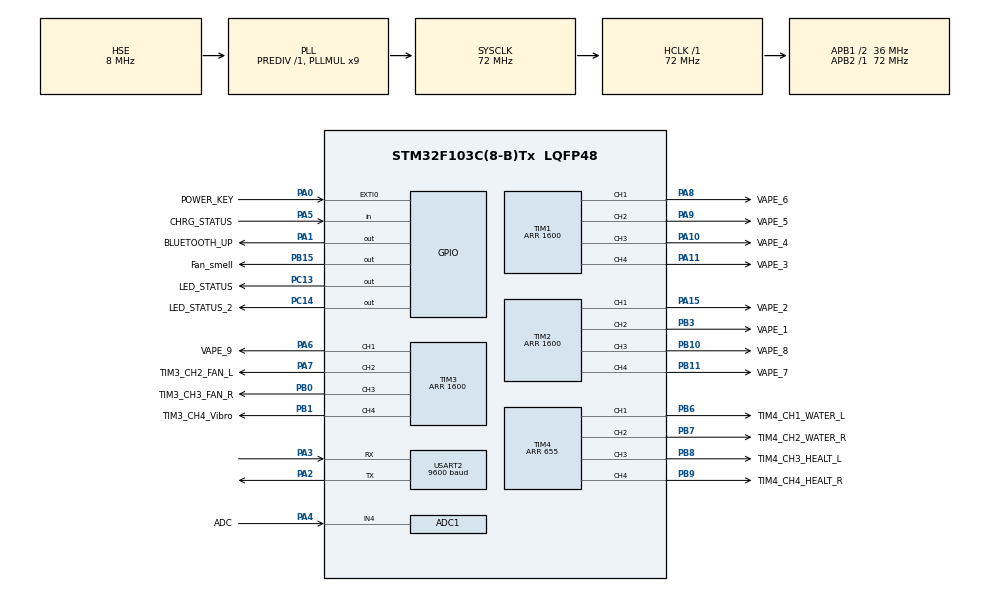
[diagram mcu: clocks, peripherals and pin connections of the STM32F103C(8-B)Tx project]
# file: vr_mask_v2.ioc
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ADC1.Channel-0\#ChannelRegularConversion=ADC_CHANNEL_4
ADC1.Channel-4\#ChannelRegularConversion=ADC_CHANNEL_TEMPSENSOR
ADC1.ContinuousConvMode=ENABLE
ADC1.DataAlign=ADC_DATAALIGN_RIGHT
ADC1.DiscontinuousConvMode=DISABLE
ADC1.EnableAnalogWatchDog=false
ADC1.EnableRegularConversion=ENABLE
ADC1.ExternalTrigConv=ADC_SOFTWARE_START
ADC1.InjNumberOfConversion=0
ADC1.NbrOfConversion=2
ADC1.NbrOfConversionFlag=1
ADC1.Rank-0\#ChannelRegularConversion=1
ADC1.Rank-4\#ChannelRegularConversion=2
ADC1.SamplingTime-0\#ChannelRegularConversion=ADC_SAMPLETIME_239CYCLES_5
ADC1.SamplingTime-4\#ChannelRegularConversion=ADC_SAMPLETIME_239CYCLES_5
ADC1.ScanConvMode=ADC_SCAN_ENABLE
ADC1.master=1
Dma.ADC1.0.Direction=DMA_PERIPH_TO_MEMORY
Dma.ADC1.0.Instance=DMA1_Channel1
Dma.ADC1.0.MemDataAlignment=DMA_MDATAALIGN_WORD
Dma.ADC1.0.MemInc=DMA_MINC_ENABLE
Dma.ADC1.0.Mode=DMA_CIRCULAR
Dma.ADC1.0.PeriphDataAlignment=DMA_PDATAALIGN_WORD
Dma.ADC1.0.PeriphInc=DMA_PINC_DISABLE
Dma.ADC1.0.Priority=DMA_PRIORITY_LOW
Dma.Request0=ADC1
Dma.Request1=USART2_RX
Dma.Request2=USART2_TX
Dma.USART2_RX.1.Direction=DMA_PERIPH_TO_MEMORY
Dma.USART2_RX.1.Instance=DMA1_Channel6
Dma.USART2_RX.1.MemDataAlignment=DMA_MDATAALIGN_BYTE
Dma.USART2_RX.1.MemInc=DMA_MINC_DISABLE
Dma.USART2_RX.1.Mode=DMA_CIRCULAR
Dma.USART2_RX.1.PeriphDataAlignment=DMA_PDATAALIGN_BYTE
Dma.USART2_RX.1.PeriphInc=DMA_PINC_DISABLE
Dma.USART2_RX.1.Priority=DMA_PRIORITY_HIGH
Dma.USART2_TX.2.Direction=DMA_MEMORY_TO_PERIPH
Dma.USART2_TX.2.Instance=DMA1_Channel7
Dma.USART2_TX.2.MemDataAlignment=DMA_MDATAALIGN_BYTE
Dma.USART2_TX.2.MemInc=DMA_MINC_ENABLE
Dma.USART2_TX.2.Mode=DMA_NORMAL
Dma.USART2_TX.2.PeriphDataAlignment=DMA_PDATAALIGN_BYTE
Dma.USART2_TX.2.PeriphInc=DMA_PINC_DISABLE
Dma.USART2_TX.2.Priority=DMA_PRIORITY_MEDIUM
Mcu.Family=STM32F1
Mcu.Name=STM32F103C(8-B)Tx
Mcu.Package=LQFP48
NVIC.ADC1_2_IRQn=true\:0\:0\:false\:false\:true\:true
NVIC.DMA1_Channel1_IRQn=true\:0\:0\:false\:false\:true\:false
NVIC.DMA1_Channel6_IRQn=true\:0\:0\:false\:false\:true\:false
NVIC.DMA1_Channel7_IRQn=true\:0\:0\:false\:false\:true\:false
NVIC.PriorityGroup=NVIC_PRIORITYGROUP_4
NVIC.USART2_IRQn=true\:0\:0\:false\:false\:true\:true
PA0-WKUP.GPIO_Label=POWER_KEY
PA0-WKUP.Signal=GPXTI0
PA1.GPIO_Label=BLUETOOTH_UP
PA1.Signal=GPIO_Output
PA10.GPIO_Label=VAPE_4
PA10.Signal=S_TIM1_CH3
PA11.GPIO_Label=VAPE_3
PA11.Signal=S_TIM1_CH4
PA13.Mode=Serial_Wire
PA13.Signal=SYS_JTMS-SWDIO
PA14.Mode=Serial_Wire
PA14.Signal=SYS_JTCK-SWCLK
PA15.GPIO_Label=VAPE_2
PA15.Signal=S_TIM2_CH1_ETR
PA2.Mode=Asynchronous
PA2.Signal=USART2_TX
PA3.Mode=Asynchronous
PA3.Signal=USART2_RX
PA4.GPIO_Label=ADC
PA4.Signal=ADCx_IN4
PA5.GPIO_Label=CHRG_STATUS
PA5.Signal=GPIO_Input
PA6.GPIO_Label=VAPE_9
PA6.Signal=S_TIM3_CH1
PA7.GPIO_Label=TIM3_CH2_FAN_L
PA7.Signal=S_TIM3_CH2
PA8.GPIO_Label=VAPE_6
PA8.Signal=S_TIM1_CH1
PA9.GPIO_Label=VAPE_5
PA9.Signal=S_TIM1_CH2
PB0.GPIO_Label=TIM3_CH3_FAN_R
PB0.Signal=S_TIM3_CH3
PB1.GPIO_Label=TIM3_CH4_Vibro
PB1.Signal=S_TIM3_CH4
PB10.GPIO_Label=VAPE_8
PB10.Signal=S_TIM2_CH3
PB11.GPIO_Label=VAPE_7
PB11.Signal=S_TIM2_CH4
PB15.GPIO_Label=Fan_smell
PB15.Signal=GPIO_Output
PB3.GPIO_Label=VAPE_1
PB3.Signal=S_TIM2_CH2
PB6.GPIO_Label=TIM4_CH1_WATER_L
PB6.Signal=S_TIM4_CH1
PB7.GPIO_Label=TIM4_CH2_WATER_R
PB7.Signal=S_TIM4_CH2
PB8.GPIO_Label=TIM4_CH3_HEALT_L
PB8.Signal=S_TIM4_CH3
PB9.GPIO_Label=TIM4_CH4_HEALT_R
PB9.Signal=S_TIM4_CH4
PC13-TAMPER-RTC.GPIO_Label=LED_STATUS
PC13-TAMPER-RTC.Signal=GPIO_Output
PC14-OSC32_IN.GPIO_Label=LED_STATUS_2
PC14-OSC32_IN.Signal=GPIO_Output
PD0-OSC_IN.Mode=HSE-External-Oscillator
PD0-OSC_IN.Signal=RCC_OSC_IN
PD1-OSC_OUT.Mode=HSE-External-Oscillator
PD1-OSC_OUT.Signal=RCC_OSC_OUT
ProjectManager.HeapSize=0x200
ProjectManager.StackSize=0x400
ProjectManager.TargetToolchain=MDK-ARM V5
RCC.ADCPresc=RCC_ADCPCLK2_DIV6
RCC.AHBFreq_Value=72000000
RCC.APB1CLKDivider=RCC_HCLK_DIV2
RCC.APB1Freq_Value=36000000
RCC.APB1TimFreq_Value=72000000
RCC.APB2Freq_Value=72000000
RCC.APB2TimFreq_Value=72000000
RCC.HCLKFreq_Value=72000000
RCC.PLLMUL=RCC_PLL_MUL9
RCC.PLLSourceVirtual=RCC_PLLSOURCE_HSE
RCC.SYSCLKFreq_VALUE=72000000
RCC.SYSCLKSource=RCC_SYSCLKSOURCE_PLLCLK
RCC.USBFreq_Value=72000000
SH.ADCx_IN4.0=ADC1_IN4,IN4
SH.S_TIM1_CH1.0=TIM1_CH1,PWM Generation1 CH1
SH.S_TIM1_CH2.0=TIM1_CH2,PWM Generation2 CH2
SH.S_TIM1_CH3.0=TIM1_CH3,PWM Generation3 CH3
SH.S_TIM1_CH4.0=TIM1_CH4,PWM Generation4 CH4
SH.S_TIM2_CH1_ETR.0=TIM2_CH1,PWM Generation1 CH1
SH.S_TIM2_CH2.0=TIM2_CH2,PWM Generation2 CH2
SH.S_TIM2_CH3.0=TIM2_CH3,PWM Generation3 CH3
SH.S_TIM2_CH4.0=TIM2_CH4,PWM Generation4 CH4
SH.S_TIM3_CH1.0=TIM3_CH1,PWM Generation1 CH1
SH.S_TIM3_CH2.0=TIM3_CH2,PWM Generation2 CH2
SH.S_TIM3_CH3.0=TIM3_CH3,PWM Generation3 CH3
SH.S_TIM3_CH4.0=TIM3_CH4,PWM Generation4 CH4
SH.S_TIM4_CH1.0=TIM4_CH1,PWM Generation1 CH1
SH.S_TIM4_CH2.0=TIM4_CH2,PWM Generation2 CH2
SH.S_TIM4_CH3.0=TIM4_CH3,PWM Generation3 CH3
SH.S_TIM4_CH4.0=TIM4_CH4,PWM Generation4 CH4
TIM1.Channel-PWM\ Generation1\ CH1=TIM_CHANNEL_1
TIM1.Channel-PWM\ Generation2\ CH2=TIM_CHANNEL_2
TIM1.Channel-PWM\ Generation3\ CH3=TIM_CHANNEL_3
TIM1.Channel-PWM\ Generation4\ CH4=TIM_CHANNEL_4
TIM1.Period=1600
TIM2.Channel-PWM\ Generation1\ CH1=TIM_CHANNEL_1
TIM2.Channel-PWM\ Generation2\ CH2=TIM_CHANNEL_2
TIM2.Channel-PWM\ Generation3\ CH3=TIM_CHANNEL_3
TIM2.Channel-PWM\ Generation4\ CH4=TIM_CHANNEL_4
TIM2.Period=1600
TIM3.Channel-PWM\ Generation1\ CH1=TIM_CHANNEL_1
TIM3.Channel-PWM\ Generation2\ CH2=TIM_CHANNEL_2
TIM3.Channel-PWM\ Generation3\ CH3=TIM_CHANNEL_3
TIM3.Channel-PWM\ Generation4\ CH4=TIM_CHANNEL_4
TIM3.Period=1600
TIM4.Channel-PWM\ Generation1\ CH1=TIM_CHANNEL_1
TIM4.Channel-PWM\ Generation2\ CH2=TIM_CHANNEL_2
TIM4.Channel-PWM\ Generation3\ CH3=TIM_CHANNEL_3
TIM4.Channel-PWM\ Generation4\ CH4=TIM_CHANNEL_4
TIM4.Period=655
USART2.BaudRate=9600
USART2.VirtualMode=VM_ASYNC
VP_ADC1_TempSens_Input.Mode=IN-TempSens
VP_TIM1_VS_ClockSourceINT.Mode=Internal
VP_TIM2_VS_ClockSourceINT.Mode=Internal
VP_TIM3_VS_ClockSourceINT.Mode=Internal
VP_TIM4_VS_ClockSourceINT.Mode=Internal
board=vr_mask_v2

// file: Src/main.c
/**
  ******************************************************************************
  * File Name          : main.c
  * Description        : Main program body
  ******************************************************************************
  ** This notice applies to any and all portions of this file
  * that are not between comment pairs USER CODE BEGIN and
  * USER CODE END. Other portions of this file, whether
  * inserted by the user or by software development tools
  * are owned by their respective copyright owners.
  *
  * COPYRIGHT(c) 2018 STMicroelectronics
  *
  * Redistribution and use in source and binary forms, with or without modification,
  * are permitted provided that the following conditions are met:
  *   1. Redistributions of source code must retain the above copyright notice,
  *      this list of conditions and the following disclaimer.
  *   2. Redistributions in binary form must reproduce the above copyright notice,
  *      this list of conditions and the following disclaimer in the documentation
  *      and/or other materials provided with the distribution.
  *   3. Neither the name of STMicroelectronics nor the names of its contributors
  *      may be used to endorse or promote products derived from this software
  *      without specific prior written permission.
  *
  * THIS SOFTWARE IS PROVIDED BY THE COPYRIGHT HOLDERS AND CONTRIBUTORS "AS IS"
  * AND ANY EXPRESS OR IMPLIED WARRANTIES, INCLUDING, BUT NOT LIMITED TO, THE
  * IMPLIED WARRANTIES OF MERCHANTABILITY AND FITNESS FOR A PARTICULAR PURPOSE ARE
  * DISCLAIMED. IN NO EVENT SHALL THE COPYRIGHT HOLDER OR CONTRIBUTORS BE LIABLE
  * FOR ANY DIRECT, INDIRECT, INCIDENTAL, SPECIAL, EXEMPLARY, OR CONSEQUENTIAL
  * DAMAGES (INCLUDING, BUT NOT LIMITED TO, PROCUREMENT OF SUBSTITUTE GOODS OR
  * SERVICES; LOSS OF USE, DATA, OR PROFITS; OR BUSINESS INTERRUPTION) HOWEVER
  * CAUSED AND ON ANY THEORY OF LIABILITY, WHETHER IN CONTRACT, STRICT LIABILITY,
  * OR TORT (INCLUDING NEGLIGENCE OR OTHERWISE) ARISING IN ANY WAY OUT OF THE USE
  * OF THIS SOFTWARE, EVEN IF ADVISED OF THE POSSIBILITY OF SUCH DAMAGE.
  *
  ******************************************************************************
  */

#include "main.h"
#include "stm32f1xx_hal.h"

/* USER CODE BEGIN Includes */
#include <stdlib.h>
#include <stdio.h>
#include "mask.h"
#include <stdbool.h>
/* USER CODE END Includes */

ADC_HandleTypeDef hadc1;
DMA_HandleTypeDef hdma_adc1;

TIM_HandleTypeDef htim1;
TIM_HandleTypeDef htim2;
TIM_HandleTypeDef htim3;
TIM_HandleTypeDef htim4;

UART_HandleTypeDef huart2;
DMA_HandleTypeDef hdma_usart2_rx;
DMA_HandleTypeDef hdma_usart2_tx;

/* USER CODE BEGIN PV */
/* Private variables ---------------------------------------------------------*/
uint8_t uart_byte[]={0};
uint8_t uart_buff[6];
uint8_t num_byte=0;

uint8_t sendData[]="MSOK33\n";
uint8_t sendData2[]="OK";
uint8_t sendTEMP[]="  \n\r";
char sendBAT[4];

uint8_t buff_transmit=0;
uint8_t buf_vape[5];
uint8_t buf_healt_left[5];
uint8_t buf_healt_right[5];
uint8_t buf_coller_left[5];
uint8_t buf_coller_right[5];
uint8_t buf_water_left[5];
uint8_t buf_water_right[5];
uint8_t buf_vibro[5];
int8_t fan_smell=0;

bool healt_right=false;
bool healt_left=false;
bool cooler_left=false;
bool cooler_right=false;
bool water_left=false;
bool water_right=false;
bool vibro=false;
bool vape1=false;
bool vape2=false;
bool vape3=false;
bool vape4=false;
bool vape5=false;
bool vape6=false;
bool vape7=false;
bool vape8=false;
bool vape9=false;

float BAT=0;
uint8_t b=0;

uint32_t time_healt_right=0;
uint32_t time_healt_left=0;
uint32_t time_cooler_right=0;
uint32_t time_cooler_left=0;
uint32_t time_water_right=0;
uint32_t time_water_left=0;
uint32_t time_vibro=0;
uint32_t time_vape1=0;
uint32_t time_vape2=0;
uint32_t time_vape3=0;
uint32_t time_vape4=0;
uint32_t time_vape5=0;
uint32_t time_vape6=0;
uint32_t time_vape7=0;
uint32_t time_vape8=0;
uint32_t time_vape9=0;
uint32_t time_sendData=0;
uint32_t time_sendData2=0;
uint32_t time_sendData3=0;

uint32_t time_haelt_rightOff=0;
uint32_t time_haelt_leftOff=0;
uint32_t time_cooler_rightOff=0;
uint32_t time_cooler_leftOff=0;
uint32_t time_water_rightOff=0;
uint32_t time_water_leftOff=0;
uint32_t time_vibro_Off=0;
uint32_t time_vape1_Off=0;
uint32_t time_vape2_Off=0;
uint32_t time_vape3_Off=0;
uint32_t time_vape4_Off=0;
uint32_t time_vape5_Off=0;
uint32_t time_vape6_Off=0;
uint32_t time_vape7_Off=0;
uint32_t time_vape8_Off=0;
uint32_t time_vape9_Off=0;

char temp2[2];
int16_t  temp=0;
uint8_t powercount=0;

uint32_t adc_buffer[2];
float adc_value[2];

uint32_t tick_time;

/* USER CODE END PV */

void SystemClock_Config(void);
static void MX_GPIO_Init(void);
static void MX_DMA_Init(void);
static void MX_ADC1_Init(void);
static void MX_TIM1_Init(void);
static void MX_TIM2_Init(void);
static void MX_TIM3_Init(void);
static void MX_TIM4_Init(void);
static void MX_USART2_UART_Init(void);

void HAL_TIM_MspPostInit(TIM_HandleTypeDef *htim);

/* USER CODE BEGIN PFP */
/* Private function prototypes -----------------------------------------------*/

/* USER CODE END PFP */

/* USER CODE BEGIN 0 */

void HAL_ADC_ConvCpltCallback(ADC_HandleTypeDef* hadc)
{
		if (hadc->Instance == ADC1)
			for (int i=0; i<2; i++)
		{
					adc_value[i]=adc_buffer[i];
		}

}
/* USER CODE END 0 */

int main(void)
{

  /* MCU Configuration----------------------------------------------------------*/

  /* Reset of all peripherals, Initializes the Flash interface and the Systick. */
  HAL_Init();

  /* USER CODE BEGIN Init */
		PWR->CSR   |= PWR_CSR_EWUP;
  /* USER CODE END Init */

  /* Configure the system clock */
  SystemClock_Config();

  /* USER CODE BEGIN SysInit */
			RCC->APB1ENR |= RCC_APB1ENR_PWREN;
  /* USER CODE END SysInit */

  /* Initialize all configured peripherals */
  MX_GPIO_Init();
  MX_DMA_Init();
  MX_ADC1_Init();
  MX_TIM1_Init();
  MX_TIM2_Init();
  MX_TIM3_Init();
  MX_TIM4_Init();
  MX_USART2_UART_Init();

  /* USER CODE BEGIN 2 */

//--------------Вкл---------

//	while(PowerOn())
//	{
//		if(powercount<=0)
//		{	Power_off2();}
//		//if(powercount>=60)
//		//{break;}
//	}
//

//---------------------------

	HAL_ADC_Start_DMA(&hadc1,adc_buffer,2); // Старт ADC, напряжение и температура

	//-----Стартуем все таймеры на частотах TIM1,TIM2,TIM3 - 45 кГц TIM4 - 110 кГц ----
				HAL_TIM_PWM_Start(&htim1, TIM_CHANNEL_1);
        HAL_TIM_PWM_Start(&htim1, TIM_CHANNEL_2);
        HAL_TIM_PWM_Start(&htim1, TIM_CHANNEL_3);
        HAL_TIM_PWM_Start(&htim1, TIM_CHANNEL_4);
				HAL_TIM_PWM_Start(&htim2, TIM_CHANNEL_1);
        HAL_TIM_PWM_Start(&htim2, TIM_CHANNEL_2);
        HAL_TIM_PWM_Start(&htim2, TIM_CHANNEL_3);
        HAL_TIM_PWM_Start(&htim2, TIM_CHANNEL_4);
				HAL_TIM_PWM_Start(&htim3, TIM_CHANNEL_1);
        HAL_TIM_PWM_Start(&htim3, TIM_CHANNEL_2);
        HAL_TIM_PWM_Start(&htim3, TIM_CHANNEL_3);
        HAL_TIM_PWM_Start(&htim3, TIM_CHANNEL_4);
				HAL_TIM_PWM_Start(&htim4, TIM_CHANNEL_1);
        HAL_TIM_PWM_Start(&htim4, TIM_CHANNEL_2);
        HAL_TIM_PWM_Start(&htim4, TIM_CHANNEL_3);
        HAL_TIM_PWM_Start(&htim4, TIM_CHANNEL_4);
	//----------------------------------------------------------------------------------
			//TIM3->CCR2=1000;
		//	TIM3->CCR3=1000;
		//	TIM3->CCR1=1000;
		//	TIM3->CCR4=1000;
		 BT_PowerOn();
		 powercount=0;

		 //	HAL_UART_Transmit_DMA(&huart2, sendData, sizeof(sendData)-1);
  /* USER CODE END 2 */

  /* Infinite loop */
  while (1)
  {

  /* USER CODE BEGIN 3 */

		tick_time=HAL_GetTick();

				//	sendBAT=(uint8_t*)b;
		BAT= ((adc_value[0]*3.33)/4096)/(100000.0/(100000.0+33000.0))*10;
	  b=BAT;
					//sendBAT=(uint8_t*)b;
	  sprintf(sendBAT,"%d\r\n",b);
		//sendBAT[1]=BAT;

//
//		if(tick_time-time_sendData>5000)
//			{
//			time_sendData=HAL_GetTick();
//			//HAL_UART_Transmit_DMA(&huart2, sendData, sizeof(sendData)-1);
//		 // HAL_UART_Transmit_DMA(&huart2, (uint8_t*)sendBAT, 4);
//			}
//

//			if(tick_time-time_sendData2>5100)
//			{
//			time_sendData2=HAL_GetTick();
//			HAL_UART_Transmit_DMA(&huart2, sendData2, sizeof(sendData)-1);
//		 // HAL_UART_Transmit_DMA(&huart2, (uint8_t*)sendBAT, 4);
//			}
//			if(tick_time-time_sendData3>5200)
//			{
//			time_sendData3=HAL_GetTick();
//		//	HAL_UART_Transmit_DMA(&huart2, sendData, sizeof(sendData)-1);
//		  HAL_UART_Transmit_DMA(&huart2, (uint8_t*)sendBAT, 4);
//			}

		//----------------Прием данных по UART --------------------------------------------
				HAL_UART_Receive_DMA(&huart2, uart_byte,1);

				if (uart_byte[0]!=0)
					{
						if(uart_byte[0]==0x0A){num_byte=0;}else
						{
								uart_buff[num_byte]=uart_byte[0];
								num_byte++;
								uart_byte[0]=0;

								if(num_byte>=5)num_byte=0;

						}
					}
		//-----------------------------------------------------------------------------------
		//if(uart_buff[0]==0x3F){buff_transmit[0]=uart_buff[0];uart_buff[0]=0;}
		if(uart_buff[0]==0x3F){buff_transmit=0x3F;}
		if(buff_transmit==0x3F)
		{HAL_UART_Transmit_DMA(&huart2, sendData, sizeof(sendData)-1);buff_transmit=0;uart_buff[0]=0;}

		//------------------Разбор данных с буфера ------------------------------------------
		if(uart_buff[0]!=0&&uart_buff[1]!=0&&uart_buff[2]!=0&&uart_buff[3]!=0&&uart_buff[4]!=0)
			{

		if(uart_buff[0]==0x38){buf_vape[0]=uart_buff[0];buf_vape[1]=uart_buff[1];buf_vape[2]=uart_buff[2];buf_vape[3]=uart_buff[3];buf_vape[4]=uart_buff[4];uart_buff[0]=0;uart_buff[1]=0;uart_buff[2]=0;uart_buff[3]=0;uart_buff[4]=0;}
		if(uart_buff[0]==0x33){buf_healt_left[0]=uart_buff[0];buf_healt_left[1]=uart_buff[1];buf_healt_left[2]=uart_buff[2];buf_healt_left[3]=uart_buff[3];buf_healt_left[4]=uart_buff[4];uart_buff[0]=0;uart_buff[1]=0;uart_buff[2]=0;uart_buff[3]=0;uart_buff[4]=0;}
		if(uart_buff[0]==0x34){buf_healt_right[0]=uart_buff[0];buf_healt_right[1]=uart_buff[1];buf_healt_right[2]=uart_buff[2];buf_healt_right[3]=uart_buff[3];buf_healt_right[4]=uart_buff[4];uart_buff[0]=0;uart_buff[1]=0;uart_buff[2]=0;uart_buff[3]=0;uart_buff[4]=0;}
		if(uart_buff[0]==0x31){buf_coller_left[0]=uart_buff[0];buf_coller_left[1]=uart_buff[1];buf_coller_left[2]=uart_buff[2];buf_coller_left[3]=uart_buff[3];buf_coller_left[4]=uart_buff[4];uart_buff[0]=0;uart_buff[1]=0;uart_buff[2]=0;uart_buff[3]=0;uart_buff[4]=0;}
		if(uart_buff[0]==0x32){buf_coller_right[0]=uart_buff[0];buf_coller_right[1]=uart_buff[1];buf_coller_right[2]=uart_buff[2];buf_coller_right[3]=uart_buff[3];buf_coller_right[4]=uart_buff[4];uart_buff[0]=0;uart_buff[1]=0;uart_buff[2]=0;uart_buff[3]=0;uart_buff[4]=0;}
		if(uart_buff[0]==0x36){buf_water_left[0]=uart_buff[0];buf_water_left[1]=uart_buff[1];buf_water_left[2]=uart_buff[2];buf_water_left[3]=uart_buff[3];buf_water_left[4]=uart_buff[4];uart_buff[0]=0;uart_buff[1]=0;uart_buff[2]=0;uart_buff[3]=0;uart_buff[4]=0;}
		if(uart_buff[0]==0x37){buf_water_right[0]=uart_buff[0];buf_water_right[1]=uart_buff[1];buf_water_right[2]=uart_buff[2];buf_water_right[3]=uart_buff[3];buf_water_right[4]=uart_buff[4];uart_buff[0]=0;uart_buff[1]=0;uart_buff[2]=0;uart_buff[3]=0;uart_buff[4]=0;}
		if(uart_buff[0]==0x35){buf_vibro[0]=uart_buff[0];buf_vibro[1]=uart_buff[1];buf_vibro[2]=uart_buff[2];buf_vibro[3]=uart_buff[3];buf_vibro[4]=uart_buff[4];uart_buff[0]=0;uart_buff[1]=0;uart_buff[2]=0;uart_buff[3]=0;uart_buff[4]=0;}
		else {uart_buff[0]=0;uart_buff[1]=0;uart_buff[2]=0;uart_buff[3]=0;uart_buff[4]=0;}
			}

		//-----------------------------------------------------------------------------------

				if(buf_healt_right[0]==0x34)
						{
							healt_right=true;
							TIM4->CCR4=1500;
							TIM3->CCR3=1500;
							time_healt_right=HAL_GetTick();
							buf_healt_right[0]=0;
							time_haelt_rightOff=(buf_healt_right[3]-0x30)*10 + (buf_healt_right[4]-0x30);
							buf_healt_right[3]=0;buf_healt_right[4]=0;
						}

						if(buf_healt_left[0]==0x33)
						{
							healt_left=true;
							TIM3->CCR2=1500;
							TIM4->CCR3=1500;
							time_healt_left=HAL_GetTick();
							buf_healt_left[0]=0;
							time_haelt_leftOff=(buf_healt_left[3]-0x30)*10 + (buf_healt_left[4]-0x30);
							buf_healt_left[3]=0;buf_healt_left[4]=0;
						}

				if(buf_coller_right[0]==0x32)
						{
							cooler_right=true;
							TIM3->CCR3=1500;

							time_cooler_right=HAL_GetTick();
							buf_coller_right[0]=0;
							time_cooler_rightOff=(buf_coller_right[3]-0x30)*10 + (buf_coller_right[4]-0x30);
							buf_coller_right[3]=0;buf_coller_right[4]=0;
						}

				if(buf_coller_left[0]==0x31)
						{
							cooler_left=true;
							TIM3->CCR2=1500;

							time_cooler_left=HAL_GetTick();
							buf_coller_left[0]=0;
							time_cooler_leftOff=(buf_coller_left[3]-0x30)*10 + (buf_coller_left[4]-0x30);
							buf_coller_left[3]=0;buf_coller_left[4]=0;
						}

				if(buf_water_right[0]==0x37)
						{
							water_right=true;
							TIM4->CCR2=150;

							time_water_right=HAL_GetTick();
							buf_water_right[0]=0;
							time_water_rightOff=(buf_water_right[3]-0x30)*10 + (buf_water_right[4]-0x30);
							buf_water_right[3]=0;buf_water_right[4]=0;
						}

				if(buf_water_left[0]==0x36)
						{
							water_left=true;
							TIM4->CCR1=150;

							time_water_left=HAL_GetTick();
							buf_water_left[0]=0;
							time_water_leftOff=(buf_water_left[3]-0x30)*10 + (buf_water_left[4]-0x30);
							buf_water_left[3]=0;buf_water_left[4]=0;
						}

				if(buf_vibro[0]==0x35)
						{
							vibro=true;
							TIM3->CCR4=800;

							time_vibro=HAL_GetTick();
							buf_vibro[0]=0;
							time_vibro_Off=(buf_vibro[3]-0x30)*10 + (buf_vibro[4]-0x30);
							buf_vibro[3]=0;buf_vibro[4]=0;
						}

	if(buf_vape[0]==0x38)
	{

				if(buf_vape[1]==0x31)
						{
							vape1=true;
							TIM2->CCR2=800;
							fan_smell++;
							time_vape1=HAL_GetTick();
							buf_vape[0]=0;
							time_vape1_Off=(buf_vape[3]-0x30)*10 + (buf_vape[4]-0x30);
							buf_vape[3]=0;buf_vape[4]=0;buf_vape[1]=0;
						}

						if(buf_vape[1]==0x32)
						{
							vape2=true;
							TIM2->CCR1=800;
							fan_smell++;
							time_vape2=HAL_GetTick();
							buf_vape[0]=0;
							time_vape2_Off=(buf_vape[3]-0x30)*10 + (buf_vape[4]-0x30);
							buf_vape[3]=0;buf_vape[4]=0;buf_vape[1]=0;
						}

						if(buf_vape[1]==0x33)
						{
							vape3=true;
							TIM1->CCR4=800;
							fan_smell++;
							time_vape3=HAL_GetTick();
							buf_vape[0]=0;
							time_vape3_Off=(buf_vape[3]-0x30)*10 + (buf_vape[4]-0x30);
							buf_vape[3]=0;buf_vape[4]=0;buf_vape[1]=0;
						}

						if(buf_vape[1]==0x34)
						{
							vape4=true;
							TIM1->CCR3=800;
							fan_smell++;
							time_vape4=HAL_GetTick();
							buf_vape[0]=0;
							time_vape4_Off=(buf_vape[3]-0x30)*10 + (buf_vape[4]-0x30);
							buf_vape[3]=0;buf_vape[4]=0;buf_vape[1]=0;
						}

						if(buf_vape[1]==0x35)
						{
							vape5=true;
							TIM1->CCR2=800;
							fan_smell++;
							time_vape5=HAL_GetTick();
							buf_vape[0]=0;
							time_vape5_Off=(buf_vape[3]-0x30)*10 + (buf_vape[4]-0x30);
							buf_vape[3]=0;buf_vape[4]=0;buf_vape[1]=0;
						}

						if(buf_vape[1]==0x36)
						{
							vape6=true;
							TIM1->CCR1=800;
							fan_smell++;
							time_vape6=HAL_GetTick();
							buf_vape[0]=0;
							time_vape6_Off=(buf_vape[3]-0x30)*10 + (buf_vape[4]-0x30);
							buf_vape[3]=0;buf_vape[4]=0;buf_vape[1]=0;
						}

						if(buf_vape[1]==0x37)
						{
							vape7=true;
							TIM2->CCR4=800;
							fan_smell++;
							time_vape7=HAL_GetTick();
							buf_vape[0]=0;
							time_vape7_Off=(buf_vape[3]-0x30)*10 + (buf_vape[4]-0x30);
							buf_vape[3]=0;buf_vape[4]=0;buf_vape[1]=0;
						}

						if(buf_vape[1]==0x38)
						{
							vape8=true;
							TIM2->CCR3=800;
							fan_smell++;
							time_vape8=HAL_GetTick();
							buf_vape[0]=0;
							time_vape8_Off=(buf_vape[3]-0x30)*10 + (buf_vape[4]-0x30);
							buf_vape[3]=0;buf_vape[4]=0;buf_vape[1]=0;
						}

						if(buf_vape[1]==0x39)
						{
							vape9=true;
							TIM3->CCR1=800;
							fan_smell++;
							time_vape9=HAL_GetTick();
							buf_vape[0]=0;
							time_vape9_Off=(buf_vape[3]-0x30)*10 + (buf_vape[4]-0x30);
							buf_vape[3]=0;buf_vape[4]=0;buf_vape[1]=0;
						}

	}

			if(healt_right==true&&tick_time-time_healt_right>(time_haelt_rightOff * 100)){TIM4->CCR4=0;healt_right=true; time_healt_right=HAL_GetTick(); if (cooler_right==true)healt_right=true;else {TIM3->CCR3=0;healt_right=false;} }
			if(healt_left==true&&tick_time-time_healt_left>(time_haelt_leftOff * 100)){TIM4->CCR3=0;  healt_left=true; time_healt_left=HAL_GetTick();if (cooler_left==true)healt_left=true;else {TIM3->CCR2=0;healt_left=false;}}
			if(cooler_left==true&&tick_time-time_cooler_left>(time_cooler_leftOff * 100)){TIM3->CCR2=0;TIM4->CCR3=0;  cooler_left=false; time_cooler_left=HAL_GetTick();}
			if(cooler_right==true&&tick_time-time_cooler_right>(time_cooler_rightOff * 100)){TIM3->CCR3=0;TIM4->CCR4=0;  cooler_right=false; time_cooler_left=HAL_GetTick();}
			if(water_right==true&&tick_time-time_water_right>(time_water_rightOff * 100)){TIM4->CCR2=0;  water_right=false; time_water_right=HAL_GetTick();}
			if(water_left==true&&tick_time-time_water_left>(time_water_leftOff * 100)){TIM4->CCR1=0;  water_left=false; time_water_left=HAL_GetTick();}
			if(vibro==true&&tick_time-time_vibro>(time_vibro_Off * 100)){TIM3->CCR4=0;  vibro=false; time_vibro=HAL_GetTick();}

			if(vape1==true&&tick_time-time_vape1>(time_vape1_Off * 100)){TIM2->CCR2=0; vape1=false; time_vape1=HAL_GetTick();fan_smell=fan_smell-1;}
			if(vape2==true&&tick_time-time_vape2>(time_vape2_Off * 100)){TIM2->CCR1=0; vape2=false; time_vape2=HAL_GetTick();fan_smell=fan_smell-1;}
			if(vape3==true&&tick_time-time_vape3>(time_vape3_Off * 100)){TIM1->CCR4=0; vape3=false; time_vape3=HAL_GetTick();fan_smell=fan_smell-1;}
			if(vape4==true&&tick_time-time_vape4>(time_vape4_Off * 100)){TIM1->CCR3=0; vape4=false; time_vape4=HAL_GetTick();fan_smell=fan_smell-1;}
			if(vape5==true&&tick_time-time_vape5>(time_vape5_Off * 100)){TIM1->CCR2=0; vape5=false; time_vape5=HAL_GetTick();fan_smell=fan_smell-1;}
			if(vape6==true&&tick_time-time_vape6>(time_vape6_Off * 100)){TIM1->CCR1=0; vape6=false; time_vape6=HAL_GetTick();fan_smell=fan_smell-1;}
			if(vape7==true&&tick_time-time_vape7>(time_vape7_Off * 100)){TIM2->CCR4=0; vape7=false; time_vape7=HAL_GetTick();fan_smell=fan_smell-1;}
			if(vape8==true&&tick_time-time_vape8>(time_vape8_Off * 100)){TIM2->CCR3=0; vape8=false; time_vape8=HAL_GetTick();fan_smell=fan_smell-1;}
			if(vape9==true&&tick_time-time_vape9>(time_vape9_Off * 100)){TIM3->CCR1=0; vape9=false; time_vape9=HAL_GetTick();fan_smell=fan_smell-1;}

			if(fan_smell>0)
			{
				HAL_GPIO_WritePin(GPIOB,GPIO_PIN_15,GPIO_PIN_SET);
			}
				else
			{
				HAL_GPIO_WritePin(GPIOB,GPIO_PIN_15,GPIO_PIN_RESET);
			}

		//	HAL_UART_Transmit_DMA(&huart2, sendData, sizeof(sendData)-1);
		//	HAL_Delay(100);

//
//		temp2[0] = uart_buff[0];
//		temp2[1] = uart_buff[1];

//	//	temp = (temp2[0] - 48) * 10 + (temp2[1] - 48);
//
//		temp = temp2[0];
//
//		Read_Volt();
//		Read_Temp();
//					Blink_Led_Blue();
//					Power_OFF();

  }
  /* USER CODE END 3 */

}

/** System Clock Configuration
*/
void SystemClock_Config(void)
{

  RCC_OscInitTypeDef RCC_OscInitStruct;
  RCC_ClkInitTypeDef RCC_ClkInitStruct;
  RCC_PeriphCLKInitTypeDef PeriphClkInit;

    /**Initializes the CPU, AHB and APB busses clocks
    */
  RCC_OscInitStruct.OscillatorType = RCC_OSCILLATORTYPE_HSE;
  RCC_OscInitStruct.HSEState = RCC_HSE_ON;
  RCC_OscInitStruct.HSEPredivValue = RCC_HSE_PREDIV_DIV1;
  RCC_OscInitStruct.HSIState = RCC_HSI_ON;
  RCC_OscInitStruct.PLL.PLLState = RCC_PLL_ON;
  RCC_OscInitStruct.PLL.PLLSource = RCC_PLLSOURCE_HSE;
  RCC_OscInitStruct.PLL.PLLMUL = RCC_PLL_MUL9;
  if (HAL_RCC_OscConfig(&RCC_OscInitStruct) != HAL_OK)
  {
    _Error_Handler(__FILE__, __LINE__);
  }

    /**Initializes the CPU, AHB and APB busses clocks
    */
  RCC_ClkInitStruct.ClockType = RCC_CLOCKTYPE_HCLK|RCC_CLOCKTYPE_SYSCLK
                              |RCC_CLOCKTYPE_PCLK1|RCC_CLOCKTYPE_PCLK2;
  RCC_ClkInitStruct.SYSCLKSource = RCC_SYSCLKSOURCE_PLLCLK;
  RCC_ClkInitStruct.AHBCLKDivider = RCC_SYSCLK_DIV1;
  RCC_ClkInitStruct.APB1CLKDivider = RCC_HCLK_DIV2;
  RCC_ClkInitStruct.APB2CLKDivider = RCC_HCLK_DIV1;

  if (HAL_RCC_ClockConfig(&RCC_ClkInitStruct, FLASH_LATENCY_2) != HAL_OK)
  {
    _Error_Handler(__FILE__, __LINE__);
  }

  PeriphClkInit.PeriphClockSelection = RCC_PERIPHCLK_ADC;
  PeriphClkInit.AdcClockSelection = RCC_ADCPCLK2_DIV6;
  if (HAL_RCCEx_PeriphCLKConfig(&PeriphClkInit) != HAL_OK)
  {
    _Error_Handler(__FILE__, __LINE__);
  }

    /**Configure the Systick interrupt time
    */
  HAL_SYSTICK_Config(HAL_RCC_GetHCLKFreq()/1000);

    /**Configure the Systick
    */
  HAL_SYSTICK_CLKSourceConfig(SYSTICK_CLKSOURCE_HCLK);

  /* SysTick_IRQn interrupt configuration */
  HAL_NVIC_SetPriority(SysTick_IRQn, 0, 0);
}

/* ADC1 init function */
static void MX_ADC1_Init(void)
{

  ADC_ChannelConfTypeDef sConfig;

    /**Common config
    */
  hadc1.Instance = ADC1;
  hadc1.Init.ScanConvMode = ADC_SCAN_ENABLE;
  hadc1.Init.ContinuousConvMode = ENABLE;
  hadc1.Init.DiscontinuousConvMode = DISABLE;
  hadc1.Init.ExternalTrigConv = ADC_SOFTWARE_START;
  hadc1.Init.DataAlign = ADC_DATAALIGN_RIGHT;
  hadc1.Init.NbrOfConversion = 2;
  if (HAL_ADC_Init(&hadc1) != HAL_OK)
  {
    _Error_Handler(__FILE__, __LINE__);
  }

    /**Configure Regular Channel
    */
  sConfig.Channel = ADC_CHANNEL_4;
  sConfig.Rank = 1;
  sConfig.SamplingTime = ADC_SAMPLETIME_239CYCLES_5;
  if (HAL_ADC_ConfigChannel(&hadc1, &sConfig) != HAL_OK)
  {
    _Error_Handler(__FILE__, __LINE__);
  }

    /**Configure Regular Channel
    */
  sConfig.Channel = ADC_CHANNEL_TEMPSENSOR;
  sConfig.Rank = 2;
  if (HAL_ADC_ConfigChannel(&hadc1, &sConfig) != HAL_OK)
  {
    _Error_Handler(__FILE__, __LINE__);
  }

}

/* TIM1 init function */
static void MX_TIM1_Init(void)
{

  TIM_ClockConfigTypeDef sClockSourceConfig;
  TIM_MasterConfigTypeDef sMasterConfig;
  TIM_OC_InitTypeDef sConfigOC;
  TIM_BreakDeadTimeConfigTypeDef sBreakDeadTimeConfig;

  htim1.Instance = TIM1;
  htim1.Init.Prescaler = 0;
  htim1.Init.CounterMode = TIM_COUNTERMODE_UP;
  htim1.Init.Period = 1600;
  htim1.Init.ClockDivision = TIM_CLOCKDIVISION_DIV1;
  htim1.Init.RepetitionCounter = 0;
  htim1.Init.AutoReloadPreload = TIM_AUTORELOAD_PRELOAD_DISABLE;
  if (HAL_TIM_Base_Init(&htim1) != HAL_OK)
  {
    _Error_Handler(__FILE__, __LINE__);
  }

  sClockSourceConfig.ClockSource = TIM_CLOCKSOURCE_INTERNAL;
  if (HAL_TIM_ConfigClockSource(&htim1, &sClockSourceConfig) != HAL_OK)
  {
    _Error_Handler(__FILE__, __LINE__);
  }

  if (HAL_TIM_PWM_Init(&htim1) != HAL_OK)
  {
    _Error_Handler(__FILE__, __LINE__);
  }

  sMasterConfig.MasterOutputTrigger = TIM_TRGO_RESET;
  sMasterConfig.MasterSlaveMode = TIM_MASTERSLAVEMODE_DISABLE;
  if (HAL_TIMEx_MasterConfigSynchronization(&htim1, &sMasterConfig) != HAL_OK)
  {
    _Error_Handler(__FILE__, __LINE__);
  }

  sConfigOC.OCMode = TIM_OCMODE_PWM1;
  sConfigOC.Pulse = 0;
  sConfigOC.OCPolarity = TIM_OCPOLARITY_HIGH;
  sConfigOC.OCNPolarity = TIM_OCNPOLARITY_HIGH;
  sConfigOC.OCFastMode = TIM_OCFAST_DISABLE;
  sConfigOC.OCIdleState = TIM_OCIDLESTATE_RESET;
  sConfigOC.OCNIdleState = TIM_OCNIDLESTATE_RESET;
  if (HAL_TIM_PWM_ConfigChannel(&htim1, &sConfigOC, TIM_CHANNEL_1) != HAL_OK)
  {
    _Error_Handler(__FILE__, __LINE__);
  }

  if (HAL_TIM_PWM_ConfigChannel(&htim1, &sConfigOC, TIM_CHANNEL_2) != HAL_OK)
  {
    _Error_Handler(__FILE__, __LINE__);
  }

  if (HAL_TIM_PWM_ConfigChannel(&htim1, &sConfigOC, TIM_CHANNEL_3) != HAL_OK)
  {
    _Error_Handler(__FILE__, __LINE__);
  }

  if (HAL_TIM_PWM_ConfigChannel(&htim1, &sConfigOC, TIM_CHANNEL_4) != HAL_OK)
  {
    _Error_Handler(__FILE__, __LINE__);
  }

  sBreakDeadTimeConfig.OffStateRunMode = TIM_OSSR_DISABLE;
  sBreakDeadTimeConfig.OffStateIDLEMode = TIM_OSSI_DISABLE;
  sBreakDeadTimeConfig.LockLevel = TIM_LOCKLEVEL_OFF;
  sBreakDeadTimeConfig.DeadTime = 0;
  sBreakDeadTimeConfig.BreakState = TIM_BREAK_DISABLE;
  sBreakDeadTimeConfig.BreakPolarity = TIM_BREAKPOLARITY_HIGH;
  sBreakDeadTimeConfig.AutomaticOutput = TIM_AUTOMATICOUTPUT_DISABLE;
  if (HAL_TIMEx_ConfigBreakDeadTime(&htim1, &sBreakDeadTimeConfig) != HAL_OK)
  {
    _Error_Handler(__FILE__, __LINE__);
  }

  HAL_TIM_MspPostInit(&htim1);

}

/* TIM2 init function */
static void MX_TIM2_Init(void)
{

  TIM_ClockConfigTypeDef sClockSourceConfig;
  TIM_MasterConfigTypeDef sMasterConfig;
  TIM_OC_InitTypeDef sConfigOC;

  htim2.Instance = TIM2;
  htim2.Init.Prescaler = 0;
  htim2.Init.CounterMode = TIM_COUNTERMODE_UP;
  htim2.Init.Period = 1600;
  htim2.Init.ClockDivision = TIM_CLOCKDIVISION_DIV1;
  htim2.Init.AutoReloadPreload = TIM_AUTORELOAD_PRELOAD_DISABLE;
  if (HAL_TIM_Base_Init(&htim2) != HAL_OK)
  {
    _Error_Handler(__FILE__, __LINE__);
  }

  sClockSourceConfig.ClockSource = TIM_CLOCKSOURCE_INTERNAL;
  if (HAL_TIM_ConfigClockSource(&htim2, &sClockSourceConfig) != HAL_OK)
  {
    _Error_Handler(__FILE__, __LINE__);
  }

  if (HAL_TIM_PWM_Init(&htim2) != HAL_OK)
  {
    _Error_Handler(__FILE__, __LINE__);
  }

  sMasterConfig.MasterOutputTrigger = TIM_TRGO_RESET;
  sMasterConfig.MasterSlaveMode = TIM_MASTERSLAVEMODE_DISABLE;
  if (HAL_TIMEx_MasterConfigSynchronization(&htim2, &sMasterConfig) != HAL_OK)
  {
    _Error_Handler(__FILE__, __LINE__);
  }

  sConfigOC.OCMode = TIM_OCMODE_PWM1;
  sConfigOC.Pulse = 0;
  sConfigOC.OCPolarity = TIM_OCPOLARITY_HIGH;
  sConfigOC.OCFastMode = TIM_OCFAST_DISABLE;
  if (HAL_TIM_PWM_ConfigChannel(&htim2, &sConfigOC, TIM_CHANNEL_1) != HAL_OK)
  {
    _Error_Handler(__FILE__, __LINE__);
  }

  if (HAL_TIM_PWM_ConfigChannel(&htim2, &sConfigOC, TIM_CHANNEL_2) != HAL_OK)
  {
    _Error_Handler(__FILE__, __LINE__);
  }

  if (HAL_TIM_PWM_ConfigChannel(&htim2, &sConfigOC, TIM_CHANNEL_3) != HAL_OK)
  {
    _Error_Handler(__FILE__, __LINE__);
  }

  if (HAL_TIM_PWM_ConfigChannel(&htim2, &sConfigOC, TIM_CHANNEL_4) != HAL_OK)
  {
    _Error_Handler(__FILE__, __LINE__);
  }

  HAL_TIM_MspPostInit(&htim2);

}

/* TIM3 init function */
static void MX_TIM3_Init(void)
{

  TIM_ClockConfigTypeDef sClockSourceConfig;
  TIM_MasterConfigTypeDef sMasterConfig;
  TIM_OC_InitTypeDef sConfigOC;

  htim3.Instance = TIM3;
  htim3.Init.Prescaler = 0;
  htim3.Init.CounterMode = TIM_COUNTERMODE_UP;
  htim3.Init.Period = 1600;
  htim3.Init.ClockDivision = TIM_CLOCKDIVISION_DIV1;
  htim3.Init.AutoReloadPreload = TIM_AUTORELOAD_PRELOAD_DISABLE;
  if (HAL_TIM_Base_Init(&htim3) != HAL_OK)
  {
    _Error_Handler(__FILE__, __LINE__);
  }

  sClockSourceConfig.ClockSource = TIM_CLOCKSOURCE_INTERNAL;
  if (HAL_TIM_ConfigClockSource(&htim3, &sClockSourceConfig) != HAL_OK)
  {
    _Error_Handler(__FILE__, __LINE__);
  }

  if (HAL_TIM_PWM_Init(&htim3) != HAL_OK)
  {
    _Error_Handler(__FILE__, __LINE__);
  }

  sMasterConfig.MasterOutputTrigger = TIM_TRGO_RESET;
  sMasterConfig.MasterSlaveMode = TIM_MASTERSLAVEMODE_DISABLE;
  if (HAL_TIMEx_MasterConfigSynchronization(&htim3, &sMasterConfig) != HAL_OK)
  {
    _Error_Handler(__FILE__, __LINE__);
  }

  sConfigOC.OCMode = TIM_OCMODE_PWM1;
  sConfigOC.Pulse = 0;
  sConfigOC.OCPolarity = TIM_OCPOLARITY_HIGH;
  sConfigOC.OCFastMode = TIM_OCFAST_DISABLE;
  if (HAL_TIM_PWM_ConfigChannel(&htim3, &sConfigOC, TIM_CHANNEL_1) != HAL_OK)
  {
    _Error_Handler(__FILE__, __LINE__);
  }

  if (HAL_TIM_PWM_ConfigChannel(&htim3, &sConfigOC, TIM_CHANNEL_2) != HAL_OK)
  {
    _Error_Handler(__FILE__, __LINE__);
  }

  if (HAL_TIM_PWM_ConfigChannel(&htim3, &sConfigOC, TIM_CHANNEL_3) != HAL_OK)
  {
    _Error_Handler(__FILE__, __LINE__);
  }

  if (HAL_TIM_PWM_ConfigChannel(&htim3, &sConfigOC, TIM_CHANNEL_4) != HAL_OK)
  {
    _Error_Handler(__FILE__, __LINE__);
  }

  HAL_TIM_MspPostInit(&htim3);

}

/* TIM4 init function */
static void MX_TIM4_Init(void)
{

  TIM_ClockConfigTypeDef sClockSourceConfig;
  TIM_MasterConfigTypeDef sMasterConfig;
  TIM_OC_InitTypeDef sConfigOC;

  htim4.Instance = TIM4;
  htim4.Init.Prescaler = 0;
  htim4.Init.CounterMode = TIM_COUNTERMODE_UP;
  htim4.Init.Period = 655;
  htim4.Init.ClockDivision = TIM_CLOCKDIVISION_DIV1;
  htim4.Init.AutoReloadPreload = TIM_AUTORELOAD_PRELOAD_DISABLE;
  if (HAL_TIM_Base_Init(&htim4) != HAL_OK)
  {
    _Error_Handler(__FILE__, __LINE__);
  }

  sClockSourceConfig.ClockSource = TIM_CLOCKSOURCE_INTERNAL;
  if (HAL_TIM_ConfigClockSource(&htim4, &sClockSourceConfig) != HAL_OK)
  {
    _Error_Handler(__FILE__, __LINE__);
  }

  if (HAL_TIM_PWM_Init(&htim4) != HAL_OK)
  {
    _Error_Handler(__FILE__, __LINE__);
  }

  sMasterConfig.MasterOutputTrigger = TIM_TRGO_RESET;
  sMasterConfig.MasterSlaveMode = TIM_MASTERSLAVEMODE_DISABLE;
  if (HAL_TIMEx_MasterConfigSynchronization(&htim4, &sMasterConfig) != HAL_OK)
  {
    _Error_Handler(__FILE__, __LINE__);
  }

  sConfigOC.OCMode = TIM_OCMODE_PWM1;
  sConfigOC.Pulse = 0;
  sConfigOC.OCPolarity = TIM_OCPOLARITY_HIGH;
  sConfigOC.OCFastMode = TIM_OCFAST_DISABLE;
  if (HAL_TIM_PWM_ConfigChannel(&htim4, &sConfigOC, TIM_CHANNEL_1) != HAL_OK)
  {
    _Error_Handler(__FILE__, __LINE__);
  }

  if (HAL_TIM_PWM_ConfigChannel(&htim4, &sConfigOC, TIM_CHANNEL_2) != HAL_OK)
  {
    _Error_Handler(__FILE__, __LINE__);
  }

  if (HAL_TIM_PWM_ConfigChannel(&htim4, &sConfigOC, TIM_CHANNEL_3) != HAL_OK)
  {
    _Error_Handler(__FILE__, __LINE__);
  }

  if (HAL_TIM_PWM_ConfigChannel(&htim4, &sConfigOC, TIM_CHANNEL_4) != HAL_OK)
  {
    _Error_Handler(__FILE__, __LINE__);
  }

  HAL_TIM_MspPostInit(&htim4);

}

/* USART2 init function */
static void MX_USART2_UART_Init(void)
{

  huart2.Instance = USART2;
  huart2.Init.BaudRate = 9600;
  huart2.Init.WordLength = UART_WORDLENGTH_8B;
  huart2.Init.StopBits = UART_STOPBITS_1;
  huart2.Init.Parity = UART_PARITY_NONE;
  huart2.Init.Mode = UART_MODE_TX_RX;
  huart2.Init.HwFlowCtl = UART_HWCONTROL_NONE;
  huart2.Init.OverSampling = UART_OVERSAMPLING_16;
  if (HAL_UART_Init(&huart2) != HAL_OK)
  {
    _Error_Handler(__FILE__, __LINE__);
  }

}

static void MX_DMA_Init(void)
{
  /* DMA controller clock enable */
  __HAL_RCC_DMA1_CLK_ENABLE();

  /* DMA interrupt init */
  /* DMA1_Channel1_IRQn interrupt configuration */
  HAL_NVIC_SetPriority(DMA1_Channel1_IRQn, 0, 0);
  HAL_NVIC_EnableIRQ(DMA1_Channel1_IRQn);
  /* DMA1_Channel6_IRQn interrupt configuration */
  HAL_NVIC_SetPriority(DMA1_Channel6_IRQn, 0, 0);
  HAL_NVIC_EnableIRQ(DMA1_Channel6_IRQn);
  /* DMA1_Channel7_IRQn interrupt configuration */
  HAL_NVIC_SetPriority(DMA1_Channel7_IRQn, 0, 0);
  HAL_NVIC_EnableIRQ(DMA1_Channel7_IRQn);

}

/** Configure pins as
        * Analog
        * Input
        * Output
        * EVENT_OUT
        * EXTI
*/
static void MX_GPIO_Init(void)
{

  GPIO_InitTypeDef GPIO_InitStruct;

  /* GPIO Ports Clock Enable */
  __HAL_RCC_GPIOC_CLK_ENABLE();
  __HAL_RCC_GPIOD_CLK_ENABLE();
  __HAL_RCC_GPIOA_CLK_ENABLE();
  __HAL_RCC_GPIOB_CLK_ENABLE();

  /*Configure GPIO pin Output Level */
  HAL_GPIO_WritePin(GPIOC, LED_STATUS_Pin|LED_STATUS_2_Pin, GPIO_PIN_RESET);

  /*Configure GPIO pin Output Level */
  HAL_GPIO_WritePin(BLUETOOTH_UP_GPIO_Port, BLUETOOTH_UP_Pin, GPIO_PIN_RESET);

  /*Configure GPIO pin Output Level */
  HAL_GPIO_WritePin(Fan_smell_GPIO_Port, Fan_smell_Pin, GPIO_PIN_RESET);

  /*Configure GPIO pins : LED_STATUS_Pin LED_STATUS_2_Pin */
  GPIO_InitStruct.Pin = LED_STATUS_Pin|LED_STATUS_2_Pin;
  GPIO_InitStruct.Mode = GPIO_MODE_OUTPUT_PP;
  GPIO_InitStruct.Speed = GPIO_SPEED_FREQ_LOW;
  HAL_GPIO_Init(GPIOC, &GPIO_InitStruct);

  /*Configure GPIO pin : POWER_KEY_Pin */
  GPIO_InitStruct.Pin = POWER_KEY_Pin;
  GPIO_InitStruct.Mode = GPIO_MODE_IT_RISING;
  GPIO_InitStruct.Pull = GPIO_NOPULL;
  HAL_GPIO_Init(POWER_KEY_GPIO_Port, &GPIO_InitStruct);

  /*Configure GPIO pin : BLUETOOTH_UP_Pin */
  GPIO_InitStruct.Pin = BLUETOOTH_UP_Pin;
  GPIO_InitStruct.Mode = GPIO_MODE_OUTPUT_PP;
  GPIO_InitStruct.Speed = GPIO_SPEED_FREQ_LOW;
  HAL_GPIO_Init(BLUETOOTH_UP_GPIO_Port, &GPIO_InitStruct);

  /*Configure GPIO pin : CHRG_STATUS_Pin */
  GPIO_InitStruct.Pin = CHRG_STATUS_Pin;
  GPIO_InitStruct.Mode = GPIO_MODE_INPUT;
  GPIO_InitStruct.Pull = GPIO_NOPULL;
  HAL_GPIO_Init(CHRG_STATUS_GPIO_Port, &GPIO_InitStruct);

  /*Configure GPIO pin : Fan_smell_Pin */
  GPIO_InitStruct.Pin = Fan_smell_Pin;
  GPIO_InitStruct.Mode = GPIO_MODE_OUTPUT_PP;
  GPIO_InitStruct.Speed = GPIO_SPEED_FREQ_LOW;
  HAL_GPIO_Init(Fan_smell_GPIO_Port, &GPIO_InitStruct);

}

void _Error_Handler(char * file, int line)
{
  while(1)
  {
  }
}

/************************ (C) COPYRIGHT STMicroelectronics *****END OF FILE****/
